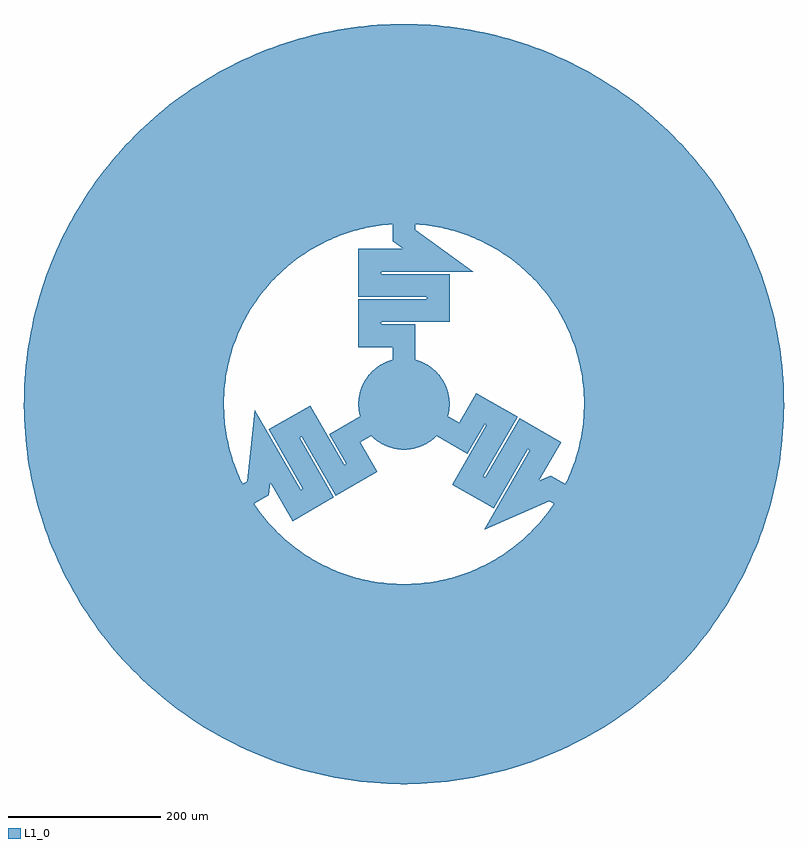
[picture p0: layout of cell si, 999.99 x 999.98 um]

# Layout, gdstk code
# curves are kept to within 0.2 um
import gdstk
lib = gdstk.Library(unit=1e-6, precision=1e-09)
def P(c, l, *ps):  # polygons
    for p in ps: c.add(gdstk.Polygon(p, *l))
L1_0 = (1, 0)

c_si = lib.new_cell('si')
P(c_si, L1_0, [(-0.525,-59.998),(-6.811,-59.612),(-11.995,-58.789),(-18.091,-57.208),(-23.022,-55.408),(-28.703,-52.689),(-34.067,-49.391),(-39.057,-45.548),(-42.888,-41.96),(-46.391,-38.051),(-50.124,-32.979),(-53.305,-27.543),(-55.508,-22.779),(-57.59,-16.835),(-58.841,-11.738),(-59.747,-5.505),(-59.995,0.788),(-59.582,7.072),(-58.736,12.252),(-57.128,18.341),(-54.891,24.228),(-52.049,29.848),(-49.241,34.283),(-45.376,39.256),(-41.772,43.071),(-37.848,46.557),(-32.759,50.268),(-27.31,53.425),(-22.536,55.607),(-17.59,57.364),(-11.48,58.892),(-5.244,59.77),(1.05,59.991),(7.332,59.55),(12.509,58.682),(17.59,57.364),(23.506,55.204),(29.163,52.436),(33.634,49.687),(38.657,45.888),(43.253,41.583),(47.374,36.82),(50.411,32.539),(53.544,27.076),(56.087,21.314),(58.012,15.318),(59.129,10.189),(59.793,4.982),(59.986,-1.313),(59.518,-7.593),(58.626,-12.766),(57.286,-17.841),(55.101,-23.747),(52.308,-29.392),(49.539,-33.851),(46.391,-38.051),(42.147,-42.704),(38.254,-46.224),(33.198,-49.979),(27.776,-53.184),(23.022,-55.408),(17.087,-57.515),(10.964,-58.99),(4.721,-59.814)],
  [(-4.375,-499.981),(-30.609,-499.062),(-56.759,-496.768),(-82.752,-493.105),(-99.958,-489.907),(-125.531,-483.985),(-150.759,-476.73),(-175.57,-468.161),(-199.898,-458.302),(-215.815,-451.025),(-239.188,-439.078),(-261.902,-425.92),(-283.894,-411.588),(-305.103,-396.121),(-325.472,-379.563),(-344.944,-361.959),(-357.4,-349.665),(-375.258,-330.426),(-392.082,-310.277),(-407.826,-289.272),(-417.699,-274.822),(-431.547,-252.522),(-440.12,-237.265),(-451.965,-213.839),(-462.565,-189.825),(-471.89,-165.287),(-479.914,-140.294),(-486.616,-114.914),(-491.976,-89.217),(-494.797,-71.945),(-497.891,-45.878),(-499.612,-19.685),(-499.957,6.563),(-499.421,24.056),(-498.273,41.519),(-495.408,67.612),(-491.176,93.519),(-487.603,110.651),(-483.432,127.648),(-476.066,152.843),(-470.426,169.41),(-464.209,185.77),(-453.819,209.876),(-446.196,225.63),(-440.241,237),(0,237),(-12.438,236.673),(-28.963,235.224),(-45.346,232.621),(-57.492,229.921),(-69.479,226.587),(-85.159,221.172),(-96.649,216.398),(-111.55,209.107),(-125.903,200.792),(-136.268,193.907),(-146.257,186.489),(-158.943,175.801),(-167.951,167.217),(-179.236,155.059),(-187.127,145.439),(-196.842,131.993),(-205.593,117.901),(-211.497,106.948),(-218.46,91.892),(-222.982,80.3),(-228.053,64.506),(-231.124,52.449),(-233.558,40.247),(-235.801,23.81),(-236.726,11.402),(-236.943,-5.185),(-236.345,-17.613),(-234.534,-34.102),(-232.421,-46.364),(-228.608,-62.508),(-225.013,-74.419),(-219.256,-89.977),(-214.232,-101.36),(-206.617,-116.097),(-197.99,-130.266),(-190.88,-140.477),(-183.245,-150.301),(-172.282,-162.751),(-160.476,-174.404),(-151.101,-182.585),(-141.311,-190.264),(-127.656,-199.682),(-117,-206.107),(-102.296,-213.786),(-87.091,-220.418),(-75.403,-224.685),(-63.508,-228.333),(-47.38,-232.216),(-31.02,-234.961),(-18.646,-236.265),(-2.074,-236.991),(10.367,-236.773),(22.779,-235.903),(39.224,-233.732),(51.437,-231.351),(67.494,-227.186),(79.324,-223.331),(94.752,-217.235),(106.022,-211.963),(120.589,-204.028),(131.131,-197.418),(144.619,-187.761),(154.274,-179.913),(166.481,-168.681),(175.104,-159.711),(183.245,-150.301),(190.88,-140.477),(200.239,-126.781),(206.617,-116.097),(214.232,-101.36),(219.256,-89.977),(223.676,-78.346),(228.608,-62.508),(231.574,-50.424),(233.901,-38.201),(235.584,-25.873),(236.617,-13.474),(236.998,-1.037),(236.726,11.402),(235.801,23.81),(233.558,40.247),(231.124,52.449),(228.053,64.506),(224.353,76.386),(220.035,88.055),(215.11,99.481),(209.593,110.634),(203.498,121.481),(196.842,131.993),(189.643,142.142),(181.922,151.899),(173.7,161.237),(164.998,170.131),(155.842,178.556),(146.257,186.489),(132.853,196.263),(118.799,205.075),(104.163,212.883),(92.847,218.056),(77.367,224.017),(61.507,228.88),(49.41,231.792),(33.075,234.681),(16.578,236.419),(0,237),(-440.241,237),(-433.74,248.736),(-424.769,263.763),(-415.278,278.467),(-405.279,292.83),(-394.782,306.834),(-383.802,320.462),(-372.352,333.697),(-360.446,346.524),(-341.763,364.963),(-328.781,376.7),(-315.396,387.976),(-301.625,398.776),(-287.485,409.087),(-272.992,418.898),(-258.165,428.195),(-243.021,436.968),(-227.58,445.205),(-211.86,452.897),(-195.88,460.034),(-179.66,466.607),(-163.221,472.609),(-146.581,478.031),(-129.762,482.868),(-112.783,487.114),(-95.667,490.763),(-69.779,495.107),(-52.409,497.246),(-34.975,498.775),(-17.498,499.694),(0,500),(17.498,499.694),(43.699,498.087),(69.779,495.107),(95.667,490.763),(121.291,485.065),(146.581,478.031),(171.467,469.68),(195.88,460.034),(211.86,452.897),(235.337,441.154),(258.165,428.195),(280.281,414.056),(294.6,403.994),(315.396,387.976),(335.323,370.888),(354.326,352.779),(372.352,333.697),(389.352,313.696),(405.279,292.83),(415.278,278.467),(429.321,256.289),(442.179,233.404),(453.819,209.876),(464.209,185.77),(473.318,161.151),(481.124,136.089),(487.603,110.651),(491.176,93.519),(495.408,67.612),(498.273,41.519),(499.421,24.056),(499.995,-2.188),(499.191,-28.425),(497.012,-54.584),(494.797,-71.945),(490.339,-97.813),(486.616,-114.914),(479.914,-140.294),(471.89,-165.287),(462.565,-189.825),(451.965,-213.839),(440.12,-237.265),(427.061,-260.036),(412.826,-282.09),(402.701,-296.365),(386.592,-317.091),(369.418,-336.943),(351.225,-355.866),(332.065,-373.809),(311.989,-390.721),(291.054,-406.556),(269.316,-421.271),(254.408,-430.438),(231.467,-443.196),(207.888,-454.733),(183.737,-465.017),(159.079,-474.019),(142.392,-479.296),(117.042,-486.108),(91.369,-491.581),(65.444,-495.699),(39.339,-498.45),(13.125,-499.828)])
c_si.add(gdstk.FlexPath([(0,0),(0,90),(-45,90),(-45,123),(45,123),(45,156),(-45,156),(-45,189),(45,189),(45,189),(0,222),(0,237)], 30, ends="flush", simple_path=True, layer=1, datatype=0))  # L1_0
c_si.add(gdstk.FlexPath([(0,0),(-77.942,-45),(-55.442,-83.971),(-84.021,-100.471),(-129.021,-22.529),(-157.6,-39.029),(-112.6,-116.971),(-141.179,-133.471),(-186.179,-55.529),(-186.179,-55.529),(-192.258,-111),(-205.248,-118.5)], 30, ends="flush", simple_path=True, layer=1, datatype=0))  # L1_0
c_si.add(gdstk.FlexPath([(0,0),(77.942,-45),(100.442,-6.029),(129.021,-22.529),(84.021,-100.471),(112.6,-116.971),(157.6,-39.029),(186.179,-55.529),(141.179,-133.471),(141.179,-133.471),(192.258,-111),(205.248,-118.5)], 30, ends="flush", simple_path=True, layer=1, datatype=0))  # L1_0

lib.write_gds('si.gds')
